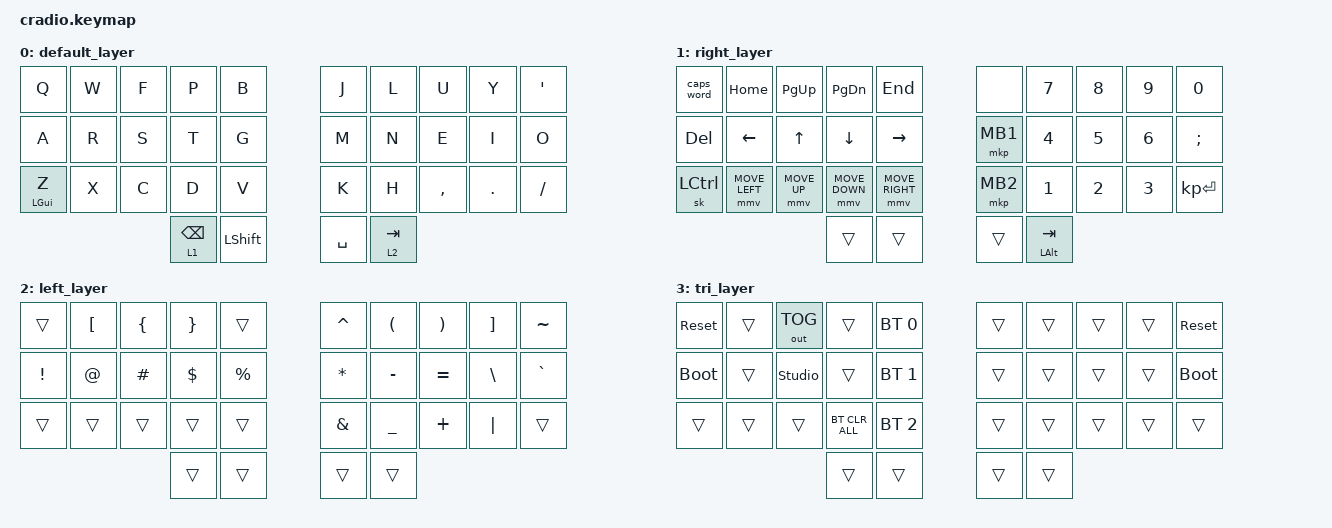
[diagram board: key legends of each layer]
// Copyright (c) 2022 The ZMK Contributors
// SPDX-License-Identifier: MIT

#include <behaviors.dtsi>
#include <dt-bindings/zmk/bt.h>
#include <dt-bindings/zmk/keys.h>
#include <dt-bindings/zmk/outputs.h>
#include <dt-bindings/zmk/pointing.h>
#include <dt-bindings/zmk/pointing.h>

#define default_layer 0
#define right_layer 1
#define left_layer 2
#define tri_layer 3

// Home row mods macro

&sk {
};

&mmv {
};

&msc {
};

/ {
    behaviors {
        ht: hold_tap {
            compatible = "zmk,behavior-hold-tap";
            #binding-cells = <2>;
            flavor = "balanced";
            tapping-term-ms = <220>;
            quick-tap-ms = <150>;
            require-prior-idle-ms = <500>;
            bindings = <&kp>, <&kp>;
        };
    };

    conditional_layers {
        compatible = "zmk,conditional-layers";

        tri_layer {
            if-layers = <1 2>;
            then-layer = <3>;
        };
    };

    keymap {
        compatible = "zmk,keymap";

        default_layer {
            bindings = <
&kp Q           &kp W  &kp F  &kp P            &kp B        &kp J      &kp L      &kp U      &kp Y    &kp SQT
&kp A           &kp R  &kp S  &kp T            &kp G        &kp M      &kp N      &kp E      &kp I    &kp O
&mt LEFT_GUI Z  &kp X  &kp C  &kp D            &kp V        &kp K      &kp H      &kp COMMA  &kp DOT  &kp SLASH
                              &lt 1 BACKSPACE  &kp LSHFT    &kp SPACE  &lt 2 TAB
            >;
        };

        right_layer {
            bindings = <
&caps_word  &kp HOME        &kp PAGE_UP   &kp PAGE_DOWN   &kp END            &none     &kp N7            &kp N8        &kp N9        &kp N0
&kp DEL     &kp LEFT_ARROW  &kp UP_ARROW  &kp DOWN_ARROW  &kp RIGHT          &mkp MB1  &kp NUMBER_4      &kp N5        &kp NUMBER_6  &kp SEMI
&sk LCTRL   &mmv MOVE_LEFT  &mmv MOVE_UP  &mmv MOVE_DOWN  &mmv MOVE_RIGHT    &mkp MB2  &kp NUMBER_1      &kp NUMBER_2  &kp NUMBER_3  &kp KP_ENTER
                                          &trans          &trans             &trans    &mt LEFT_ALT TAB
            >;
        };

        left_layer {
            bindings = <
&trans    &kp LBKT  &kp LBRC  &kp RBRC  &trans       &kp CARET  &kp LPAR   &kp RPAR   &kp RBKT  &kp TILDE
&kp EXCL  &kp AT    &kp HASH  &kp DLLR  &kp PRCNT    &kp ASTRK  &kp MINUS  &kp EQUAL  &kp BSLH  &kp GRAVE
&trans    &trans    &trans    &trans    &trans       &kp AMPS   &kp UNDER  &kp PLUS   &kp PIPE  &trans
                              &trans    &trans       &trans     &trans
            >;
        };

        tri_layer {
            bindings = <
&sys_reset   &trans  &out OUT_TOG    &trans          &bt BT_SEL 0    &trans  &trans  &trans  &trans  &sys_reset
&bootloader  &trans  &studio_unlock  &trans          &bt BT_SEL 1    &trans  &trans  &trans  &trans  &bootloader
&trans       &trans  &trans          &bt BT_CLR_ALL  &bt BT_SEL 2    &trans  &trans  &trans  &trans  &trans
                                     &trans          &trans          &trans  &trans
            >;
        };
    };
};
